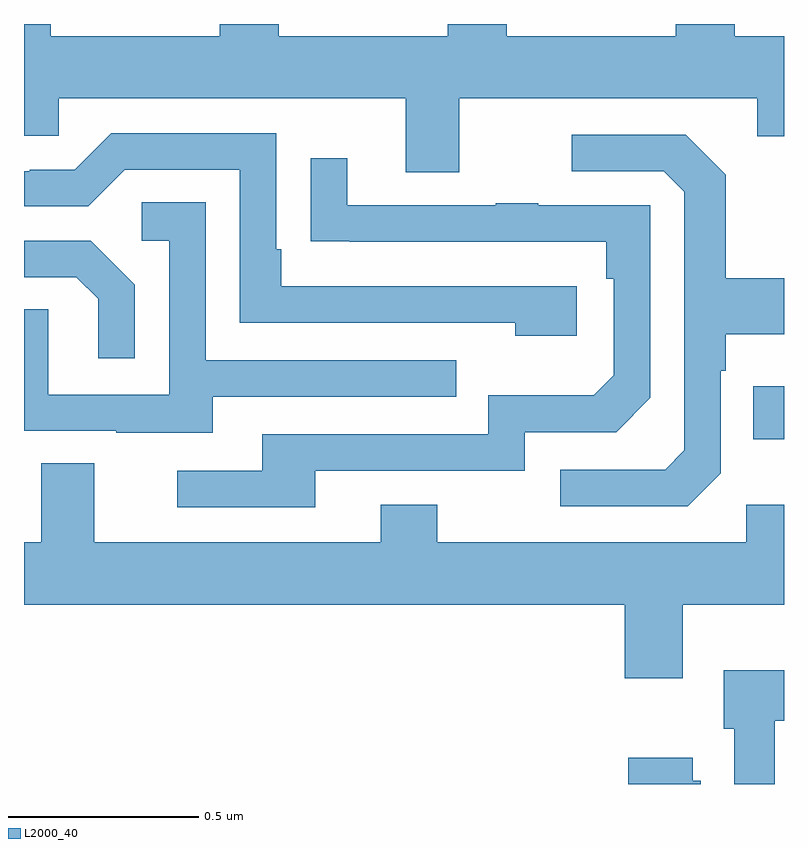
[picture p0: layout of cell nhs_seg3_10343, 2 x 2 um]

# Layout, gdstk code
import gdstk
lib = gdstk.Library(unit=1e-6, precision=1e-09)
def R(c, l, rs):  # rectangles x0, y0, x1, y1
    for r in rs: c.add(gdstk.rectangle(r[:2], r[2:], *l))
def P(c, l, *ps):  # polygons
    for p in ps: c.add(gdstk.Polygon(p, *l))
L2000_40 = (2000, 40)

nhs_seg3_10343 = lib.new_cell('nhs_seg3_10343')
R(nhs_seg3_10343, L2000_40, [(240.919,745.307,241,745.447)])
P(nhs_seg3_10343, L2000_40, [(240.145,746.204),(240.929,746.204),(240.929,746.105),(241,746.105),(241,746.368),(240.87,746.368),(240.87,746.4),(240.715,746.4),(240.715,746.368),(240.27,746.368),(240.27,746.4),(240.115,746.4),(240.115,746.368),(239.67,746.368),(239.67,746.4),(239.515,746.4),(239.515,746.368),(239.07,746.368),(239.07,746.4),(239,746.4),(239,746.106),(239.091,746.106),(239.091,746.204),(240.005,746.204),(240.005,746.01),(240.145,746.01)],
  [(240.454,745.71),(239.677,745.71),(239.677,745.807),(239.664,745.807),(239.664,746.112),(239.229,746.112),(239.133,746.016),(239.015,746.016),(239.015,746.013),(239,746.013),(239,745.92),(239.169,745.92),(239.265,746.016),(239.568,746.016),(239.568,745.614),(240.293,745.614),(240.293,745.58),(240.454,745.58)],
  [(240.834,745.218),(240.834,745.487),(240.847,745.487),(240.847,745.583),(241,745.583),(241,745.731),(240.847,745.731),(240.847,746.003),(240.741,746.109),(240.441,746.109),(240.441,746.013),(240.684,746.013),(240.738,745.959),(240.738,745.278),(240.687,745.227),(240.411,745.227),(240.411,745.131),(240.747,745.131)],
  [(239.767,745.224),(240.318,745.224),(240.318,745.326),(240.558,745.326),(240.648,745.416),(240.648,745.923),(240.353,745.923),(240.353,745.928),(240.241,745.928),(240.241,745.923),(239.851,745.923),(239.851,746.047),(239.755,746.047),(239.755,745.828),(239.857,745.828),(239.857,745.827),(240.532,745.827),(240.532,745.73),(240.552,745.73),(240.552,745.476),(240.499,745.423),(240.222,745.423),(240.222,745.32),(239.627,745.32),(239.627,745.224),(239.403,745.224),(239.403,745.128),(239.767,745.128)],
  [(239.497,745.419),(240.137,745.419),(240.137,745.515),(239.478,745.515),(239.478,745.931),(239.31,745.931),(239.31,745.83),(239.382,745.83),(239.382,745.425),(239.064,745.425),(239.064,745.649),(239,745.649),(239,745.329),(239.243,745.329),(239.243,745.325),(239.497,745.325)],
  [(239.292,745.714),(239.176,745.83),(239,745.83),(239,745.734),(239.138,745.734),(239.195,745.677),(239.195,745.521),(239.292,745.521)],
  [(240.733,744.872),(241,744.872),(241,745.135),(240.9,745.135),(240.9,745.036),(240.087,745.036),(240.087,745.135),(239.939,745.135),(239.939,745.036),(239.185,745.036),(239.185,745.244),(239.045,745.244),(239.045,745.036),(239,745.036),(239,744.872),(240.581,744.872),(240.581,744.678),(240.733,744.678)],
  [(240.976,744.566),(241,744.566),(241,744.7),(240.842,744.7),(240.842,744.546),(240.869,744.546),(240.869,744.4),(240.976,744.4)],
  [(240.781,744.408),(240.76,744.408),(240.76,744.469),(240.59,744.469),(240.59,744.4),(240.781,744.4)])

lib.write_gds('nhs_seg3_10343.gds')
